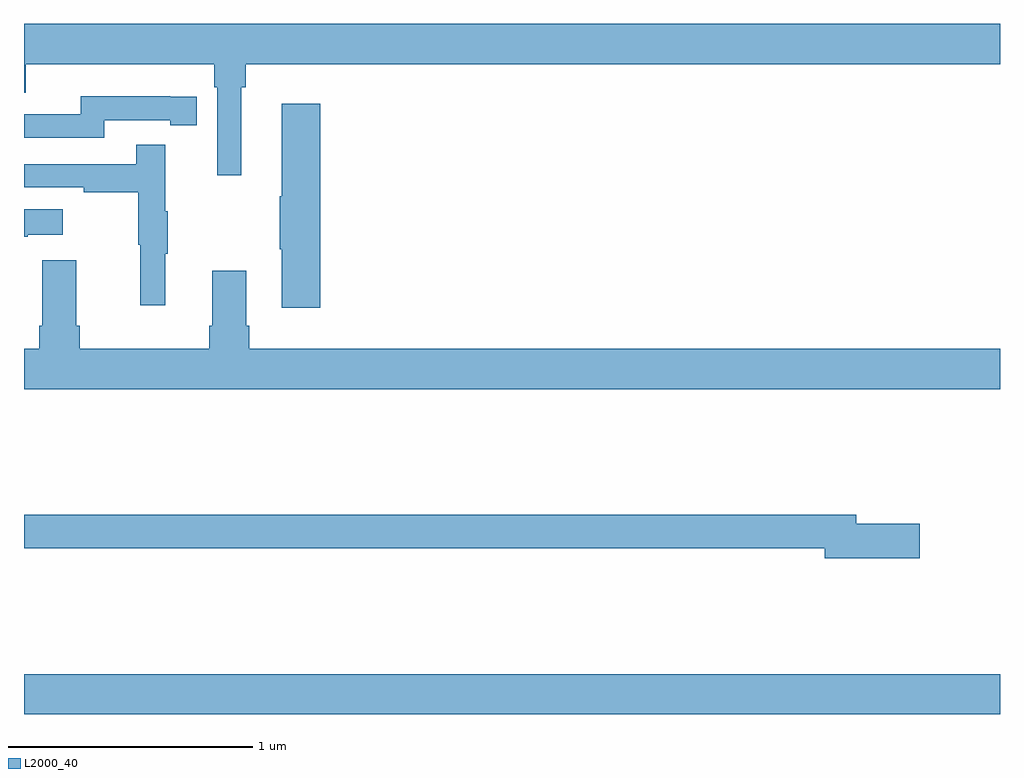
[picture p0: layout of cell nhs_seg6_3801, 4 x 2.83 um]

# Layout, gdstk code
import gdstk
lib = gdstk.Library(unit=1e-6, precision=1e-09)
def R(c, l, rs):  # rectangles x0, y0, x1, y1
    for r in rs: c.add(gdstk.rectangle(r[:2], r[2:], *l))
def P(c, l, *ps):  # polygons
    for p in ps: c.add(gdstk.Polygon(p, *l))
L2000_40 = (2000, 40)

nhs_seg6_3801 = lib.new_cell('nhs_seg6_3801')
R(nhs_seg6_3801, L2000_40, [(335,956.66,339,956.824)])
P(nhs_seg6_3801, L2000_40, [(335.89,959.228),(335.909,959.228),(335.909,959.324),(339,959.324),(339,959.488),(335,959.488),(335,959.207),(335.008,959.207),(335.008,959.324),(335.78,959.324),(335.78,959.228),(335.793,959.228),(335.793,958.869),(335.89,958.869)],
  [(335.328,959.094),(335.6,959.094),(335.6,959.074),(335.708,959.074),(335.708,959.19),(335.6,959.19),(335.6,959.191),(335.232,959.191),(335.232,959.118),(335,959.118),(335,959.022),(335.328,959.022)],
  [(336.215,959.161),(336.056,959.161),(336.056,958.781),(336.049,958.781),(336.049,958.564),(336.056,958.564),(336.056,958.326),(336.215,958.326)],
  [(335.579,958.547),(335.59,958.547),(335.59,958.721),(335.579,958.721),(335.579,958.993),(335.461,958.993),(335.461,958.914),(335,958.914),(335,958.818),(335.245,958.818),(335.245,958.798),(335.469,958.798),(335.469,958.584),(335.476,958.584),(335.476,958.335),(335.579,958.335)],
  [(335.015,958.625),(335.158,958.625),(335.158,958.729),(335,958.729),(335,958.615),(335.015,958.615)],
  [(339,958.156),(335.924,958.156),(335.924,958.252),(335.911,958.252),(335.911,958.477),(335.771,958.477),(335.771,958.252),(335.759,958.252),(335.759,958.156),(335.228,958.156),(335.228,958.252),(335.215,958.252),(335.215,958.519),(335.075,958.519),(335.075,958.252),(335.063,958.252),(335.063,958.156),(335,958.156),(335,957.992),(339,957.992)],
  [(338.671,957.44),(338.41,957.44),(338.41,957.476),(335,957.476),(335,957.34),(338.282,957.34),(338.282,957.298),(338.671,957.298)])

lib.write_gds('nhs_seg6_3801.gds')
